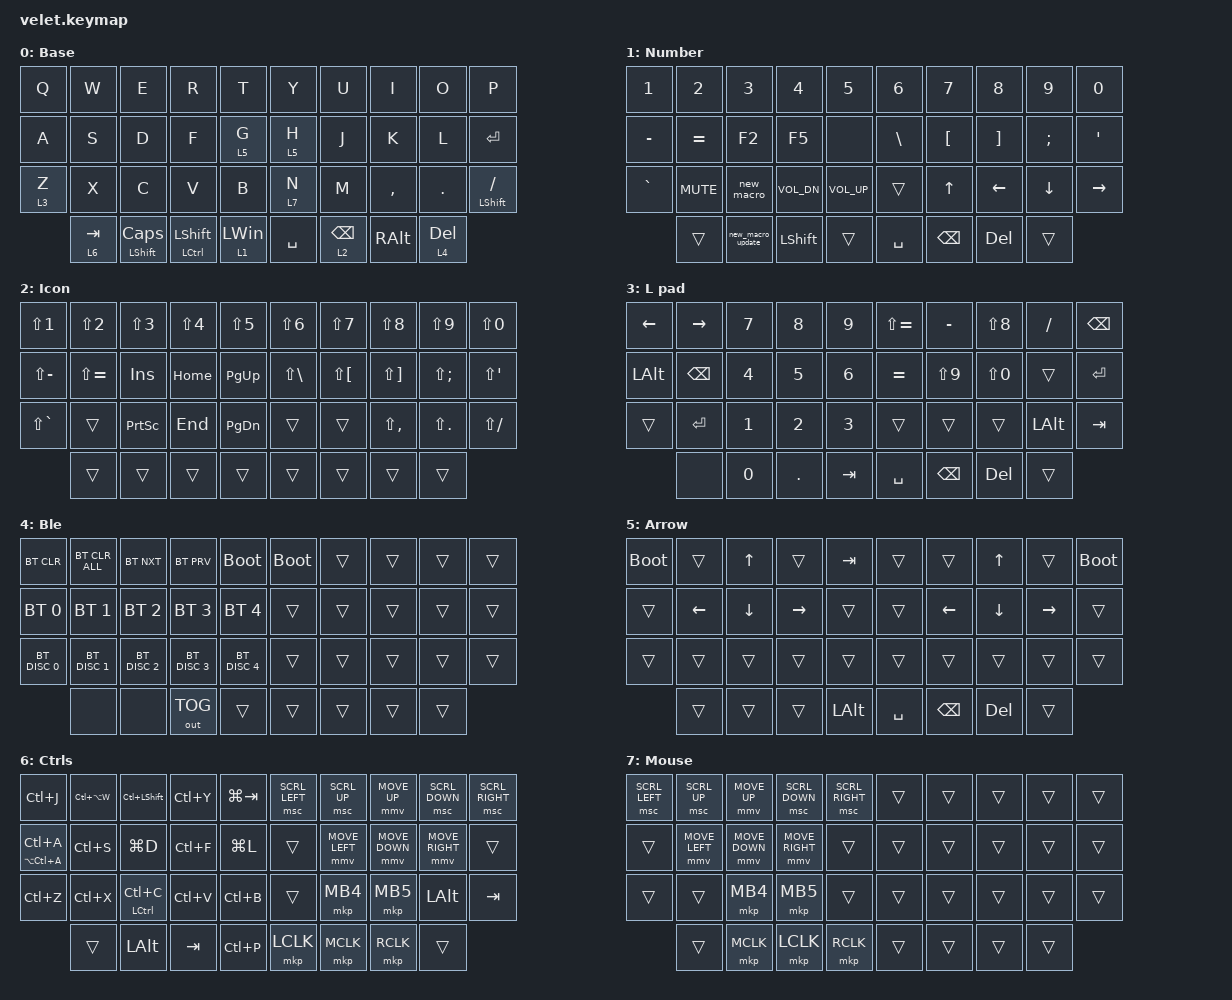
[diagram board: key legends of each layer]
/*
 * Copyright (c) 2021 The ZMK Contributors
 *
 * SPDX-License-Identifier: MIT
 */

#include <behaviors/mouse_keys.dtsi>
#include <dt-bindings/zmk/mouse.h>
#include <behaviors.dtsi>
#include <dt-bindings/zmk/bt.h>
#include <dt-bindings/zmk/keys.h>
#include <dt-bindings/zmk/outputs.h>
#include <dt-bindings/zmk/pointing.h>

&mt {
    tapping-term-ms = <200>;
    flavor = "tap-preferred";
};

&sk {
    release-after-ms = <2000>;
    quick-release;
};

/ {
    combos {
        compatible = "zmk,combos";

        esc {
            bindings = <&kp ESC>;
            key-positions = <0 1>;
        };

        del {
            bindings = <&kp DELETE>;
            key-positions = <10 11>;
        };

        caps {
            bindings = <&kp CAPSLOCK>;
            key-positions = <20 21>;
        };

        bk {
            bindings = <&kp BACKSPACE>;
            key-positions = <8 9>;
        };

        tab {
            bindings = <&kp TAB>;
            key-positions = <28 29>;
        };

        enter {
            bindings = <&kp ENTER>;
            key-positions = <18 19>;
        };

        home {
            bindings = <&kp HOME>;
            key-positions = <2 3>;
        };

        end {
            bindings = <&kp END>;
            key-positions = <12 13>;
        };

        pu {
            bindings = <&kp PG_UP>;
            key-positions = <6 7>;
        };

        pd {
            bindings = <&kp PAGE_DOWN>;
            key-positions = <16 17>;
        };

        alt-tab {
            bindings = <&kp LA(TAB)>;
            key-positions = <13 33>;
        };
    };

    behaviors {
        hm: homerow_mods {
            compatible = "zmk,behavior-hold-tap";
            label = "HOMEROW_MODS";
            #binding-cells = <2>;
            tapping-term-ms = <200>;
            quick_tap_ms = <0>;
            flavor = "tap-preferred";
            bindings = <&kp>, <&kp>;

            quick-tap-ms = <180>;
            global-quick-tap;
        };

        ltq: ltq {
            compatible = "zmk,behavior-hold-tap";
            label = "LTQ";
            bindings = <&mo>, <&kp>;

            #binding-cells = <2>;
            tapping-term-ms = <200>;
            quick-tap-ms = <180>;
        };

        as: as {
            compatible = "zmk,behavior-hold-tap";
            label = "AUTO_SHIFT";
            bindings = <&kp>, <&kp>;

            #binding-cells = <2>;
            tapping-term-ms = <135>;
            quick-tap-ms = <0>;
            flavor = "tap-preferred";
        };
    };

    macros {
        new_macro: new_macro {
            compatible = "zmk,behavior-macro";
            #binding-cells = <0>;
            bindings = <&kp LS(C) &kp H &kp L &kp DOT &kp N8 &kp N8 &kp N0 &kp N6 &kp N0 &kp N2 &kp RS(N7) &kp RS(N8) &kp LS(N9) &kp ENTER>;
            label = "NEW_MACRO";
        };

        new_macro_update: new_macro_update {
            compatible = "zmk,behavior-macro";
            #binding-cells = <0>;
            bindings = <&kp LS(C) &kp H &kp L &kp DOT &kp N8 &kp N8 &kp N0 &kp N6 &kp N0 &kp N2 &kp PRCNT &kp CARET &kp AMPS &kp STAR &kp LPAR>;
            label = "NEW_MACRO_UPDATE";
        };
    };

    keymap {
        compatible = "zmk,keymap";

        BASE {
            bindings = <
&kp Q    &kp W      &kp E                &kp R             &kp T           &kp Y      &kp U             &kp I          &kp O          &kp P
&kp A    &kp S      &kp D                &kp F             &lt 5 G         &lt 5 H    &kp J             &kp K          &kp L          &kp ENTER
&lt 3 Z  &kp X      &kp C                &kp V             &kp B           &lt 7 N    &kp M             &kp COMMA      &kp DOT        &mt LEFT_SHIFT SLASH
         &lt 6 TAB  &mt LSHIFT CAPSLOCK  &mt LCTRL LSHIFT  &lt 1 LEFT_WIN  &kp SPACE  &ltq 2 BACKSPACE  &kp RIGHT_ALT  &ltq 4 DELETE
            >;

            label = "Base";
        };

        NUMBER {
            bindings = <
&kp N1     &kp N2      &kp N3             &kp N4          &kp N5           &kp N6     &kp N7        &kp N8      &kp N9          &kp N0
&kp MINUS  &kp EQUAL   &kp F2             &kp F5          &none            &kp BSLH   &kp LBKT      &kp RBKT    &kp SEMI        &kp APOS
&kp GRAVE  &kp C_MUTE  &new_macro         &kp C_VOL_DN    &kp C_VOLUME_UP  &trans     &kp UP_ARROW  &kp LEFT    &kp DOWN_ARROW  &kp RIGHT_ARROW
           &trans      &new_macro_update  &kp LEFT_SHIFT  &trans           &kp SPACE  &kp BSPC      &kp DELETE  &trans
            >;

            label = "Number";
        };

        ICON {
            bindings = <
&kp LS(N1)     &kp LS(N2)     &kp LS(N3)  &kp LS(N4)  &kp LS(N5)     &kp LS(N6)    &kp LS(N7)    &kp LS(N8)     &kp LS(N9)    &kp LS(N0)
&kp LS(MINUS)  &kp LS(EQUAL)  &kp INS     &kp HOME    &kp PG_UP      &kp LS(BSLH)  &kp LS(LBKT)  &kp LS(RBKT)   &kp LS(SEMI)  &kp LS(APOS)
&kp LS(GRAVE)  &trans         &kp PSCRN   &kp END     &kp PAGE_DOWN  &trans        &trans        &kp LS(COMMA)  &kp LS(DOT)   &kp LS(FSLH)
               &trans         &trans      &trans      &trans         &trans        &trans        &trans         &trans
            >;

            label = "Icon";
        };

        LEFTPAD {
            bindings = <
&kp LEFT  &kp RIGHT_ARROW  &kp N7  &kp N8      &kp N9   &kp LS(EQUAL)  &kp MINUS   &kp LS(N8)  &kp FSLH  &kp BSPC
&kp LALT  &kp BSPC         &kp N4  &kp N5      &kp N6   &kp EQUAL      &kp LS(N9)  &kp LS(N0)  &trans    &kp ENTER
&trans    &kp ENTER        &kp N1  &kp N2      &kp N3   &trans         &trans      &trans      &kp LALT  &kp TAB
          &none            &kp N0  &kp PERIOD  &kp TAB  &kp SPACE      &kp BSPC    &kp DELETE  &trans
            >;

            label = "L pad";
        };

        BLUETOOTH {
            bindings = <
&bt BT_CLR     &bt BT_CLR_ALL  &bt BT_NXT     &bt BT_PRV     &bootloader    &bootloader  &trans  &trans  &trans  &trans
&bt BT_SEL 0   &bt BT_SEL 1    &bt BT_SEL 2   &bt BT_SEL 3   &bt BT_SEL 4   &trans       &trans  &trans  &trans  &trans
&bt BT_DISC 0  &bt BT_DISC 1   &bt BT_DISC 2  &bt BT_DISC 3  &bt BT_DISC 4  &trans       &trans  &trans  &trans  &trans
               &none           &none          &out OUT_TOG   &trans         &trans       &trans  &trans  &trans
            >;

            label = "Ble";
        };

        ARROWS {
            bindings = <
&bootloader  &trans          &kp UP_ARROW    &trans           &kp TAB       &trans     &trans          &kp UP          &trans           &bootloader
&trans       &kp LEFT_ARROW  &kp DOWN_ARROW  &kp RIGHT_ARROW  &trans        &trans     &kp LEFT_ARROW  &kp DOWN_ARROW  &kp RIGHT_ARROW  &trans
&trans       &trans          &trans          &trans           &trans        &trans     &trans          &trans          &trans           &trans
             &trans          &trans          &trans           &kp LEFT_ALT  &kp SPACE  &kp BSPC        &kp DELETE      &trans
            >;

            label = "Arrow";
        };

        CONTROLS {
            bindings = <
&kp LC(J)            &kp LC(LA(W))  &kp LC(LSHFT)    &kp LC(Y)  &kp LG(TAB)  &msc SCRL_LEFT  &msc SCRL_UP    &mmv MOVE_UP    &msc SCRL_DOWN   &msc SCRL_RIGHT
&mt LA(LC(A)) LC(A)  &kp LC(S)      &kp LG(D)        &kp LC(F)  &kp LG(L)    &trans          &mmv MOVE_LEFT  &mmv MOVE_DOWN  &mmv MOVE_RIGHT  &trans
&kp LC(Z)            &kp LC(X)      &mt LCTRL LC(C)  &kp LC(V)  &kp LC(B)    &trans          &mkp MB4        &mkp MB5        &kp LALT         &kp TAB
                     &trans         &kp LEFT_ALT     &kp TAB    &kp LC(P)    &mkp LCLK       &mkp MCLK       &mkp RCLK       &trans
            >;

            label = "Ctrls";
        };

        Mouse {
            bindings = <
&msc SCRL_LEFT  &msc SCRL_UP    &mmv MOVE_UP    &msc SCRL_DOWN   &msc SCRL_RIGHT  &trans  &trans  &trans  &trans  &trans
&trans          &mmv MOVE_LEFT  &mmv MOVE_DOWN  &mmv MOVE_RIGHT  &trans           &trans  &trans  &trans  &trans  &trans
&trans          &trans          &mkp MB4        &mkp MB5         &trans           &trans  &trans  &trans  &trans  &trans
                &trans          &mkp MCLK       &mkp LCLK        &mkp RCLK        &trans  &trans  &trans  &trans
            >;

            label = "Mouse";
        };
    };
};
